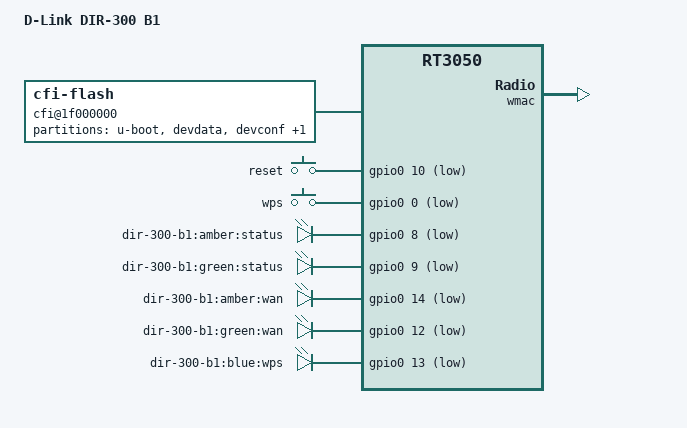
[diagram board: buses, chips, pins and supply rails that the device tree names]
/dts-v1/;

#include "rt3050.dtsi"

#include <dt-bindings/gpio/gpio.h>
#include <dt-bindings/input/input.h>

/ {
	compatible = "dlink,dir-300-b1", "ralink,rt3050-soc";
	model = "D-Link DIR-300 B1";

	cfi@1f000000 {
		compatible = "cfi-flash";
		reg = <0x1f000000 0x800000>;
		bank-width = <2>;
		device-width = <2>;
		#address-cells = <1>;
		#size-cells = <1>;

		partition@0 {
			label = "u-boot";
			reg = <0x0 0x30000>;
			read-only;
		};

		devdata: partition@30000 {
			label = "devdata";
			reg = <0x30000 0x10000>;
			read-only;
		};

		factory: partition@40000 {
			label = "devconf";
			reg = <0x40000 0x10000>;
			read-only;
		};

		partition@50000 {
			label = "firmware";
			reg = <0x50000 0x3b0000>;
		};
	};

	gpio-keys-polled {
		compatible = "gpio-keys-polled";
		#address-cells = <1>;
		#size-cells = <0>;
		poll-interval = <20>;

		reset {
			label = "reset";
			gpios = <&gpio0 10 GPIO_ACTIVE_LOW>;
			linux,code = <KEY_RESTART>;
		};

		wps {
			label = "wps";
			gpios = <&gpio0 0 GPIO_ACTIVE_LOW>;
			linux,code = <KEY_WPS_BUTTON>;
		};
	};

	gpio-leds {
		compatible = "gpio-leds";

		status {
			label = "dir-300-b1:amber:status";
			gpios = <&gpio0 8 GPIO_ACTIVE_LOW>;
		};

		status2 {
			label = "dir-300-b1:green:status";
			gpios = <&gpio0 9 GPIO_ACTIVE_LOW>;
		};

		wan {
			label = "dir-300-b1:amber:wan";
			gpios = <&gpio0 14 GPIO_ACTIVE_LOW>;
		};

		wan2 {
			label = "dir-300-b1:green:wan";
			gpios = <&gpio0 12 GPIO_ACTIVE_LOW>;
		};

		wps {
			label = "dir-300-b1:blue:wps";
			gpios = <&gpio0 13 GPIO_ACTIVE_LOW>;
		};
	};
};

&pinctrl {
	state_default: pinctrl0 {
		gpio {
			ralink,group = "i2c", "spi", "jtag", "mdio", "rgmii", "uartf";
			ralink,function = "gpio";
		};
	};
};

&ethernet {
	mtd-mac-address = <&devdata 0x4004>;
};

&esw {
	mediatek,portmap = <0x2f>;
};

&wmac {
	ralink,mtd-eeprom = <&devdata 0x4000>;
};
